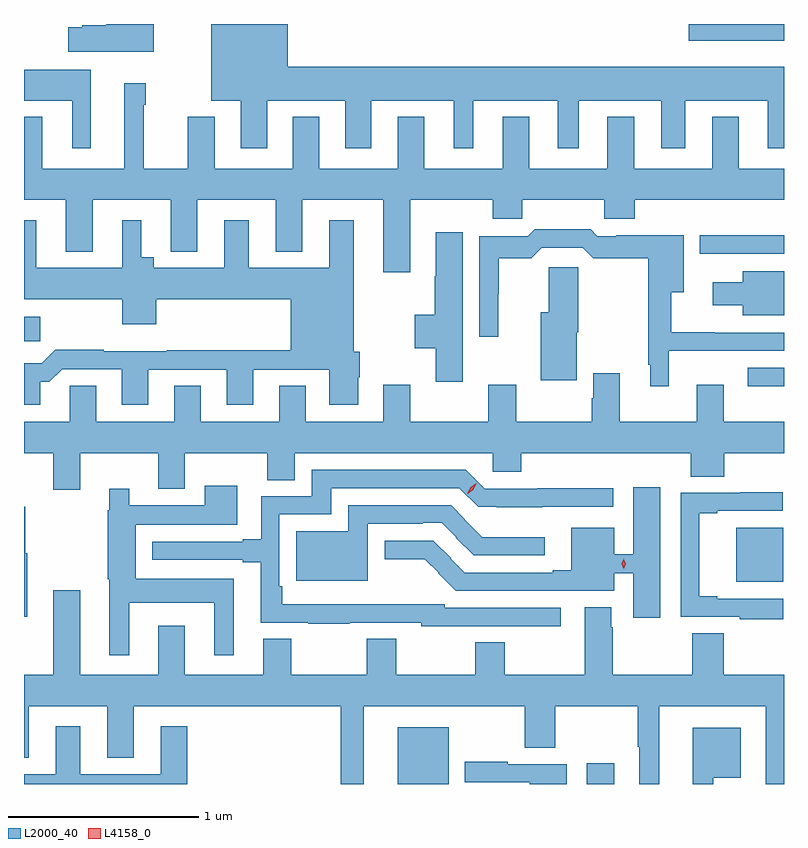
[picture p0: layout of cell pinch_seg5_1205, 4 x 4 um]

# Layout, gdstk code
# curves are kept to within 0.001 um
import gdstk
lib = gdstk.Library(unit=1e-6, precision=1e-09)
def R(c, l, rs):  # rectangles x0, y0, x1, y1
    for r in rs: c.add(gdstk.rectangle(r[:2], r[2:], *l))
def P(c, l, *ps):  # polygons
    for p in ps: c.add(gdstk.Polygon(p, *l))
L2000_40 = (2000, 40)
L4158_0 = (4158, 0)

pinch_seg5_1205 = lib.new_cell('pinch_seg5_1205')
R(pinch_seg5_1205, L2000_40, [(449.171,873.666,449.44,873.964), (450.167,873.666,450.31,873.775), (450.953,874.73,451.201,875.014), (451.014,875.76,451.204,875.856), (447.204,875.995,447.289,876.124), (450.761,876.456,451.204,876.554), (450.702,877.577,451.204,877.666)])
P(pinch_seg5_1205, L2000_40, [(448.483,877.262),(448.895,877.262),(448.895,877.011),(449.032,877.011),(449.032,877.262),(449.465,877.262),(449.465,877.011),(449.569,877.011),(449.569,877.262),(450.014,877.262),(450.014,877.011),(450.124,877.011),(450.124,877.262),(450.557,877.262),(450.557,877.011),(450.685,877.011),(450.685,877.262),(451.118,877.262),(451.118,877.011),(451.204,877.011),(451.204,877.441),(448.591,877.441),(448.591,877.666),(448.19,877.666),(448.19,877.262),(448.346,877.262),(448.346,877.011),(448.483,877.011)],
  [(447.886,877.666),(447.636,877.666),(447.636,877.66),(447.51,877.66),(447.51,877.649),(447.438,877.649),(447.438,877.52),(447.886,877.52)],
  [(447.556,877.426),(447.204,877.426),(447.204,877.262),(447.458,877.262),(447.458,877.011),(447.556,877.011)],
  [(449.236,876.74),(449.671,876.74),(449.671,876.642),(449.826,876.642),(449.826,876.74),(450.259,876.74),(450.259,876.642),(450.419,876.642),(450.419,876.74),(451.204,876.74),(451.204,876.904),(450.967,876.904),(450.967,877.177),(450.827,877.177),(450.827,876.904),(450.415,876.904),(450.415,877.177),(450.275,877.177),(450.275,876.904),(449.863,876.904),(449.863,877.177),(449.723,877.177),(449.723,876.904),(449.311,876.904),(449.311,877.177),(449.171,877.177),(449.171,876.904),(448.759,876.904),(448.759,877.177),(448.619,877.177),(448.619,876.904),(448.207,876.904),(448.207,877.177),(448.067,877.177),(448.067,876.904),(447.835,876.904),(447.835,877.241),(447.845,877.241),(447.845,877.354),(447.731,877.354),(447.731,876.904),(447.301,876.904),(447.301,877.177),(447.204,877.177),(447.204,876.74),(447.425,876.74),(447.425,876.467),(447.565,876.467),(447.565,876.74),(447.977,876.74),(447.977,876.467),(448.117,876.467),(448.117,876.74),(448.529,876.74),(448.529,876.467),(448.669,876.467),(448.669,876.74),(449.096,876.74),(449.096,876.36),(449.236,876.36)],
  [(447.289,875.783),(447.338,875.783),(447.405,875.85),(447.719,875.85),(447.719,875.661),(447.859,875.661),(447.859,875.847),(448.271,875.847),(448.271,875.661),(448.411,875.661),(448.411,875.847),(448.811,875.847),(448.811,875.661),(448.963,875.661),(448.963,875.807),(448.971,875.807),(448.971,875.94),(448.939,875.94),(448.939,876.634),(448.811,876.634),(448.811,876.382),(448.387,876.382),(448.387,876.634),(448.259,876.634),(448.259,876.382),(447.886,876.382),(447.886,876.439),(447.82,876.439),(447.82,876.634),(447.722,876.634),(447.722,876.382),(447.268,876.382),(447.268,876.634),(447.204,876.634),(447.204,876.218),(447.721,876.218),(447.721,876.087),(447.899,876.087),(447.899,876.218),(448.607,876.218),(448.607,875.948),(447.955,875.948),(447.955,875.944),(447.623,875.944),(447.623,875.951),(447.368,875.951),(447.298,875.881),(447.204,875.881),(447.204,875.661),(447.289,875.661)],
  [(450.598,875.945),(451.204,875.946),(451.204,876.042),(450.61,876.043),(450.61,876.254),(450.676,876.254),(450.676,876.553),(450.322,876.554),(450.322,876.549),(450.222,876.549),(450.186,876.586),(449.893,876.586),(449.856,876.549),(449.601,876.549),(449.601,876.021),(449.7,876.021),(449.7,876.246),(449.702,876.246),(449.702,876.434),(449.873,876.434),(449.928,876.489),(450.144,876.489),(450.2,876.434),(450.489,876.434),(450.489,875.872),(450.5,875.872),(450.5,875.76),(450.598,875.76)],
  [(449.512,876.571),(449.372,876.571),(449.372,876.339),(449.365,876.339),(449.365,876.137),(449.261,876.137),(449.261,875.959),(449.372,875.959),(449.372,875.784),(449.512,875.784)],
  [(450.112,876.044),(450.12,876.044),(450.12,876.385),(449.966,876.385),(449.966,876.148),(449.924,876.148),(449.924,875.792),(450.112,875.792)],
  [(451.204,876.364),(450.986,876.364),(450.986,876.307),(450.828,876.307),(450.828,876.185),(450.986,876.185),(450.986,876.134),(451.204,876.134)],
  [(447.499,875.408),(447.911,875.408),(447.911,875.219),(448.051,875.219),(448.051,875.408),(448.483,875.408),(448.483,875.266),(448.63,875.266),(448.63,875.408),(449.67,875.408),(449.67,875.31),(449.822,875.31),(449.822,875.408),(450.713,875.408),(450.713,875.284),(450.89,875.284),(450.89,875.408),(451.204,875.408),(451.204,875.572),(450.886,875.572),(450.886,875.767),(450.746,875.767),(450.746,875.572),(450.34,875.572),(450.34,875.827),(450.2,875.827),(450.2,875.696),(450.193,875.696),(450.193,875.572),(449.796,875.572),(449.796,875.767),(449.648,875.767),(449.648,875.572),(449.236,875.572),(449.236,875.767),(449.096,875.767),(449.096,875.572),(448.687,875.572),(448.687,875.762),(448.547,875.762),(448.547,875.572),(448.135,875.572),(448.135,875.762),(447.995,875.762),(447.995,875.572),(447.583,875.572),(447.583,875.762),(447.444,875.762),(447.444,875.572),(447.204,875.572),(447.204,875.408),(447.359,875.408),(447.359,875.214),(447.499,875.214)],
  [(450.028,874.593),(449.418,874.593),(449.418,874.612),(448.562,874.611),(448.562,874.708),(448.548,874.708),(448.548,875.085),(448.822,875.085),(448.822,875.223),(449.496,875.223),(449.595,875.124),(449.692,875.123),(450.304,875.124),(450.304,875.222),(449.905,875.222),(449.905,875.22),(449.628,875.22),(449.529,875.319),(448.718,875.319),(448.718,875.181),(448.452,875.181),(448.452,874.954),(448.355,874.954),(448.355,874.941),(447.879,874.941),(447.879,874.845),(448.355,874.845),(448.355,874.833),(448.451,874.833),(448.451,874.515),(448.699,874.515),(448.699,874.51),(448.919,874.51),(448.919,874.515),(449.295,874.515),(449.295,874.497),(450.028,874.497)],
  [(447.757,874.619),(448.205,874.619),(448.205,874.344),(448.309,874.344),(448.309,874.747),(447.793,874.747),(447.793,875.03),(448.327,875.03),(448.327,875.236),(448.154,875.236),(448.154,875.134),(447.757,875.134),(447.757,875.221),(447.653,875.221),(447.653,875.108),(447.646,875.108),(447.646,874.743),(447.653,874.743),(447.653,874.344),(447.757,874.344)],
  [(450.553,875.227),(450.41,875.227),(450.41,874.875),(450.31,874.875),(450.31,875.014),(450.083,875.014),(450.083,874.792),(449.987,874.792),(449.987,874.779),(449.523,874.779),(449.45,874.852),(449.452,874.854),(449.359,874.947),(449.103,874.947),(449.103,874.849),(449.314,874.849),(449.386,874.777),(449.384,874.776),(449.477,874.683),(450.31,874.683),(450.31,874.775),(450.41,874.775),(450.41,874.542),(450.553,874.542)],
  [(451.201,874.641),(450.853,874.641),(450.853,874.654),(450.758,874.654),(450.758,875.091),(450.853,875.091),(450.853,875.103),(451.198,875.103),(451.198,875.201),(450.973,875.201),(450.973,875.199),(450.66,875.199),(450.66,874.545),(450.97,874.545),(450.97,874.533),(451.201,874.533)],
  [(449.014,875.037),(449.303,875.037),(449.303,875.04),(449.403,875.04),(449.479,874.964),(449.477,874.962),(449.57,874.869),(449.944,874.869),(449.944,874.966),(449.615,874.966),(449.523,875.058),(449.525,875.06),(449.452,875.133),(448.91,875.133),(448.91,874.996),(448.638,874.996),(448.638,874.737),(449.014,874.736)],
  [(447.22,874.881),(447.21,874.881),(447.21,875.126),(447.204,875.126),(447.204,874.545),(447.22,874.545)],
  [(448.993,874.076),(449.839,874.076),(449.839,873.856),(450,873.856),(450,874.076),(450.433,874.076),(450.433,873.862),(450.443,873.862),(450.443,873.666),(450.547,873.666),(450.547,874.076),(451.109,874.076),(451.109,873.666),(451.204,873.666),(451.204,874.24),(450.887,874.24),(450.887,874.46),(450.721,874.46),(450.721,874.24),(450.303,874.24),(450.303,874.49),(450.295,874.49),(450.295,874.597),(450.155,874.597),(450.155,874.24),(449.733,874.24),(449.733,874.412),(449.578,874.412),(449.578,874.24),(449.163,874.24),(449.163,874.43),(449.008,874.43),(449.008,874.24),(448.611,874.24),(448.611,874.43),(448.463,874.43),(448.463,874.24),(448.051,874.24),(448.051,874.498),(447.911,874.498),(447.911,874.24),(447.499,874.24),(447.499,874.687),(447.359,874.687),(447.359,874.24),(447.204,874.24),(447.204,873.803),(447.229,873.803),(447.229,874.076),(447.641,874.076),(447.641,873.803),(447.781,873.803),(447.781,874.076),(448.872,874.076),(448.872,873.666),(448.993,873.666)],
  [(448.064,873.97),(447.923,873.97),(447.923,873.718),(447.499,873.718),(447.499,873.97),(447.371,873.97),(447.371,873.718),(447.204,873.718),(447.204,873.666),(448.064,873.666)],
  [(450.832,873.698),(450.976,873.698),(450.976,873.961),(450.725,873.961),(450.725,873.666),(450.832,873.666)],
  [(450.06,873.771),(449.75,873.771),(449.75,873.784),(449.525,873.784),(449.525,873.675),(449.867,873.675),(449.867,873.666),(450.06,873.666)])
P(pinch_seg5_1205, L4158_0, [(450.36,874.798),(450.36,874.798),(450.35,874.824),(450.36,874.85),(450.36,874.851),(450.36,874.85),(450.37,874.824),(450.36,874.798)],
  [(449.538,875.194),(449.538,875.194),(449.554,875.228),(449.584,875.249),(449.585,875.249),(449.585,875.249),(449.569,875.215),(449.539,875.194)])

lib.write_gds('pinch_seg5_1205.gds')
